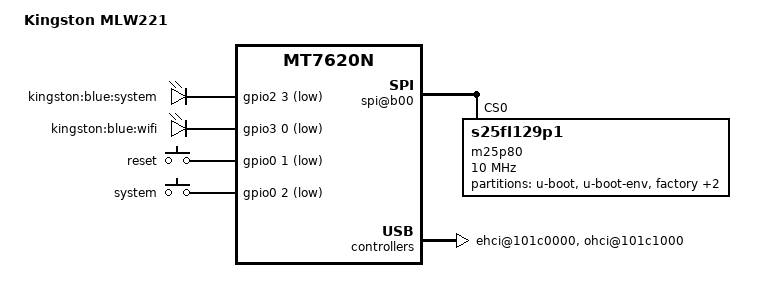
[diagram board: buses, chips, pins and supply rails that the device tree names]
/dts-v1/;

/include/ "mt7620n.dtsi"

/ {
       compatible = "mlw221", "ralink,mt7620n-soc";
       model = "Kingston MLW221";

       palmbus@10000000 {
               gpio0: gpio@600 {
               status = "okay";
               };

               gpio2: gpio@660 {
                       status = "okay";
               };

               gpio3: gpio@688 {
                       status = "okay";
               };

               spi@b00 {
                       status = "okay";

                       m25p80@0 {
                               #address-cells = <1>;
                               #size-cells = <1>;
                               compatible = "s25fl129p1";
                               reg = <0 0>;
                               linux,modalias = "m25p80", "s25fl129p1";
                               spi-max-frequency = <10000000>;

                               partition@0 {
                                       label = "u-boot";
                                       reg = <0x0 0x30000>;
                                       read-only;
                               };

                               partition@30000 {
                                       label = "u-boot-env";
                                       reg = <0x30000 0x10000>;
                                       read-only;
                               };

                               factory: partition@40000 {
                                       label = "factory";
                                       reg = <0x40000 0x10000>;
                                       read-only;
                               };

                               partition@50000 {
                                       label = "firmware";
                                       reg = <0x50000 0xf60000>;
                               };

                               partition@fb0000 {
                                       label = "user-config";
                                       reg = <0xfb0000 0x50000>;

                               };
                       };
               };
       };

       ehci@101c0000 {
               status = "okay";
       };

       ohci@101c1000 {
               status = "okay";
       };

       ethernet@10100000 {
               mtd-mac-address = <&factory 0x4>;
               ralink,port-map = "wllll";
       };

       wmac@10180000 {
               ralink,mtd-eeprom = <&factory 0>;
       };

       pinctrl {
               state_default: pinctrl0 {
                       default {
                               ralink,group = "i2c", "ephy", "wled";
                               ralink,function = "gpio";
                       };
               };
       };

       gpio-leds {
               compatible = "gpio-leds";
               system {
                       label = "kingston:blue:system";
                       gpios = <&gpio2 3 1>;
               };
               wifi {
                       label = "kingston:blue:wifi";
                       gpios = <&gpio3 0 1>;
               };
       };

       gpio-keys-polled {
               compatible = "gpio-keys-polled";
               #address-cells = <1>;
               #size-cells = <0>;
               poll-interval = <20>;
               reset {
                       label = "reset";
                       gpios = <&gpio0 1 1>;
                       linux,code = <0x198>;
               };
               system {
                       label = "system";
                       gpios = <&gpio0 2 1>;
                       linux,code = <0x211>;
               };
       };
};
